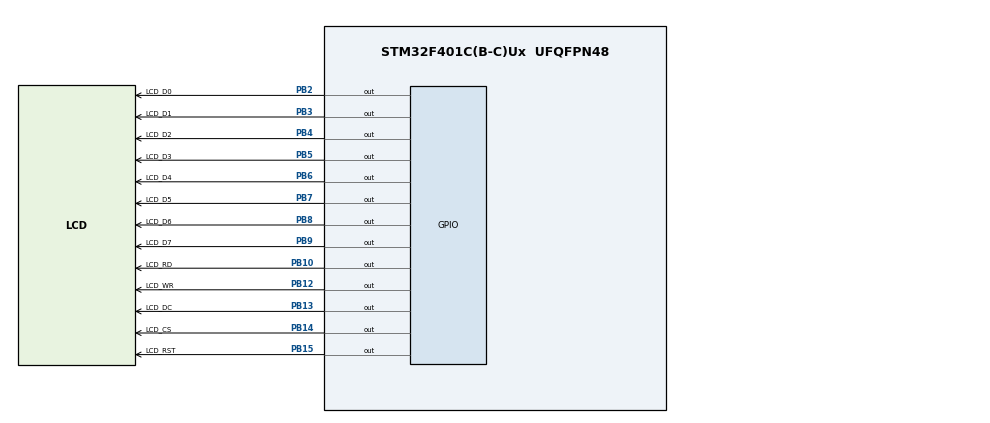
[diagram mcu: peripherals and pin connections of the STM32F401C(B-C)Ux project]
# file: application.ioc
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ADC1.Channel-2\#ChannelRegularConversion=ADC_CHANNEL_VBAT
ADC1.NbrOfConversionFlag=1
ADC1.Rank-2\#ChannelRegularConversion=1
ADC1.SamplingTime-2\#ChannelRegularConversion=ADC_SAMPLETIME_3CYCLES
ADC1.master=1
FREERTOS.Mutexes01=Display_Mutex,Dynamic,NULL
FREERTOS.Tasks01=Task_01,24,512,StartTask_01,Default,NULL,Dynamic,NULL,NULL;Task_02,24,512,StartTask_02,Default,NULL,Dynamic,NULL,NULL;Task_03,24,512,StartTask_03,Default,NULL,Dynamic,NULL,NULL;Task_04,24,512,StartTask_04,Default,NULL,Dynamic,NULL,NULL
Mcu.Family=STM32F4
Mcu.Name=STM32F401C(B-C)Ux
Mcu.Package=UFQFPN48
NVIC.PriorityGroup=NVIC_PRIORITYGROUP_4
PA13.Mode=Serial_Wire
PA13.Signal=SYS_JTMS-SWDIO
PA14.Mode=Serial_Wire
PA14.Signal=SYS_JTCK-SWCLK
PB10.GPIO_Label=LCD_RD
PB10.GPIO_ModeDefaultOutputPP=GPIO_MODE_OUTPUT_PP
PB10.GPIO_PuPd=GPIO_NOPULL
PB10.GPIO_Speed=GPIO_SPEED_FREQ_VERY_HIGH
PB10.PinState=GPIO_PIN_RESET
PB10.Signal=GPIO_Output
PB12.GPIO_Label=LCD_WR
PB12.GPIO_ModeDefaultOutputPP=GPIO_MODE_OUTPUT_PP
PB12.GPIO_PuPd=GPIO_NOPULL
PB12.GPIO_Speed=GPIO_SPEED_FREQ_VERY_HIGH
PB12.PinState=GPIO_PIN_RESET
PB12.Signal=GPIO_Output
PB13.GPIO_Label=LCD_DC
PB13.GPIO_ModeDefaultOutputPP=GPIO_MODE_OUTPUT_PP
PB13.GPIO_PuPd=GPIO_NOPULL
PB13.GPIO_Speed=GPIO_SPEED_FREQ_VERY_HIGH
PB13.PinState=GPIO_PIN_RESET
PB13.Signal=GPIO_Output
PB14.GPIO_Label=LCD_CS
PB14.GPIO_ModeDefaultOutputPP=GPIO_MODE_OUTPUT_PP
PB14.GPIO_PuPd=GPIO_NOPULL
PB14.GPIO_Speed=GPIO_SPEED_FREQ_VERY_HIGH
PB14.PinState=GPIO_PIN_RESET
PB14.Signal=GPIO_Output
PB15.GPIO_Label=LCD_RST
PB15.GPIO_ModeDefaultOutputPP=GPIO_MODE_OUTPUT_PP
PB15.GPIO_PuPd=GPIO_NOPULL
PB15.GPIO_Speed=GPIO_SPEED_FREQ_VERY_HIGH
PB15.PinState=GPIO_PIN_RESET
PB15.Signal=GPIO_Output
PB2.GPIO_Label=LCD_D0
PB2.GPIO_ModeDefaultOutputPP=GPIO_MODE_OUTPUT_PP
PB2.GPIO_PuPd=GPIO_NOPULL
PB2.GPIO_Speed=GPIO_SPEED_FREQ_VERY_HIGH
PB2.PinState=GPIO_PIN_RESET
PB2.Signal=GPIO_Output
PB3.GPIO_Label=LCD_D1
PB3.GPIO_ModeDefaultOutputPP=GPIO_MODE_OUTPUT_PP
PB3.GPIO_PuPd=GPIO_NOPULL
PB3.GPIO_Speed=GPIO_SPEED_FREQ_VERY_HIGH
PB3.PinState=GPIO_PIN_RESET
PB3.Signal=GPIO_Output
PB4.GPIO_Label=LCD_D2
PB4.GPIO_ModeDefaultOutputPP=GPIO_MODE_OUTPUT_PP
PB4.GPIO_PuPd=GPIO_NOPULL
PB4.GPIO_Speed=GPIO_SPEED_FREQ_VERY_HIGH
PB4.PinState=GPIO_PIN_RESET
PB4.Signal=GPIO_Output
PB5.GPIO_Label=LCD_D3
PB5.GPIO_ModeDefaultOutputPP=GPIO_MODE_OUTPUT_PP
PB5.GPIO_PuPd=GPIO_NOPULL
PB5.GPIO_Speed=GPIO_SPEED_FREQ_VERY_HIGH
PB5.PinState=GPIO_PIN_RESET
PB5.Signal=GPIO_Output
PB6.GPIO_Label=LCD_D4
PB6.GPIO_ModeDefaultOutputPP=GPIO_MODE_OUTPUT_PP
PB6.GPIO_PuPd=GPIO_NOPULL
PB6.GPIO_Speed=GPIO_SPEED_FREQ_VERY_HIGH
PB6.PinState=GPIO_PIN_RESET
PB6.Signal=GPIO_Output
PB7.GPIO_Label=LCD_D5
PB7.GPIO_ModeDefaultOutputPP=GPIO_MODE_OUTPUT_PP
PB7.GPIO_PuPd=GPIO_NOPULL
PB7.GPIO_Speed=GPIO_SPEED_FREQ_VERY_HIGH
PB7.PinState=GPIO_PIN_RESET
PB7.Signal=GPIO_Output
PB8.GPIO_Label=LCD_D6
PB8.GPIO_ModeDefaultOutputPP=GPIO_MODE_OUTPUT_PP
PB8.GPIO_PuPd=GPIO_NOPULL
PB8.GPIO_Speed=GPIO_SPEED_FREQ_VERY_HIGH
PB8.PinState=GPIO_PIN_RESET
PB8.Signal=GPIO_Output
PB9.GPIO_Label=LCD_D7
PB9.GPIO_ModeDefaultOutputPP=GPIO_MODE_OUTPUT_PP
PB9.GPIO_PuPd=GPIO_NOPULL
PB9.GPIO_Speed=GPIO_SPEED_FREQ_VERY_HIGH
PB9.PinState=GPIO_PIN_RESET
PB9.Signal=GPIO_Output
PC14-OSC32_IN.Mode=LSE-External-Oscillator
PC14-OSC32_IN.Signal=RCC_OSC32_IN
PC15-OSC32_OUT.Mode=LSE-External-Oscillator
PC15-OSC32_OUT.Signal=RCC_OSC32_OUT
ProjectManager.HeapSize=0x1000
ProjectManager.StackSize=0x2000
ProjectManager.TargetToolchain=Makefile
RCC.48MHZClocksFreq_Value=42000000
RCC.AHBFreq_Value=84000000
RCC.APB1CLKDivider=RCC_HCLK_DIV2
RCC.APB1Freq_Value=42000000
RCC.APB1TimFreq_Value=84000000
RCC.APB2Freq_Value=84000000
RCC.APB2TimFreq_Value=84000000
RCC.CortexFreq_Value=84000000
RCC.HCLKFreq_Value=84000000
RCC.HSE_VALUE=25000000
RCC.HSI_VALUE=16000000
RCC.PLLM=8
RCC.PLLN=84
RCC.SYSCLKFreq_VALUE=84000000
RCC.SYSCLKSource=RCC_SYSCLKSOURCE_PLLCLK
RCC.VCOOutputFreq_Value=168000000
VP_ADC1_Vbat_Input.Mode=IN-Vbat
VP_ADC1_Vref_Input.Mode=IN-Vrefint
VP_FREERTOS_VS_CMSIS_V2.Mode=CMSIS_V2
VP_TIM11_VS_ClockSourceINT.Mode=Enable_Timer
board=custom

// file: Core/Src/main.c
/* USER CODE BEGIN Header */
/**
  ******************************************************************************
  * @file           : main.c
  * @brief          : Main program body
  ******************************************************************************
  * @attention
  *
  * <h2><center>&copy; Copyright (c) 2020 STMicroelectronics.
  * All rights reserved.</center></h2>
  *
  * This software component is licensed by ST under BSD 3-Clause license,
  * the "License"; You may not use this file except in compliance with the
  * License. You may obtain a copy of the License at:
  *                        opensource.org/licenses/BSD-3-Clause
  *
  ******************************************************************************
  */
/* USER CODE END Header */
#include "main.h"
#include "cmsis_os.h"
#include "adc.h"
#include "tim.h"
#include "gpio.h"

/* USER CODE BEGIN Includes */
#include "SSD1963.h"
// #include "example.h"

/* USER CODE END Includes */

void SystemClock_Config(void);
void MX_FREERTOS_Init(void);

int main(void)
{

  /* MCU Configuration--------------------------------------------------------*/

  /* Reset of all peripherals, Initializes the Flash interface and the Systick. */

  LL_APB2_GRP1_EnableClock(LL_APB2_GRP1_PERIPH_SYSCFG);
  LL_APB1_GRP1_EnableClock(LL_APB1_GRP1_PERIPH_PWR);

  NVIC_SetPriorityGrouping(NVIC_PRIORITYGROUP_4);

  /* System interrupt init*/
  /* PendSV_IRQn interrupt configuration */
  NVIC_SetPriority(PendSV_IRQn, NVIC_EncodePriority(NVIC_GetPriorityGrouping(),15, 0));
  /* SysTick_IRQn interrupt configuration */
  NVIC_SetPriority(SysTick_IRQn, NVIC_EncodePriority(NVIC_GetPriorityGrouping(),15, 0));

  /* Configure the system clock */
  SystemClock_Config();

  /* Initialize all configured peripherals */
  MX_GPIO_Init();
  MX_ADC1_Init();
  MX_TIM11_Init();
  /* USER CODE BEGIN 2 */

  /*
   * init receives orientation parameter
   * for display,
   * Display_Set_rotation becomes superfluous
   */
  Display_Init(1); /* - 0&3 480x800,  1&2 800x480 */

  /*
   * is currently Display_Set_rotation
   * has a drawback when dynamically changing
   */
  // Display_Set_rotation(2);

  fillRect(0, 0, Display_Get_WIDTH(),Display_Get_HEIGHT(), GRAY);

  #include "c_images_all_includes.h"
  drawRGBBitmap(10, 235, tiger);
  /* USER CODE END 2 */

  /* Init scheduler */
  osKernelInitialize();  /* Call init function for freertos objects (in freertos.c) */
  MX_FREERTOS_Init();
  /* Start scheduler */
  osKernelStart();

  /* We should never get here as control is now taken by the scheduler */
  /* Infinite loop */
  while (1)
  {

    /* USER CODE BEGIN 3 */

    // loop();
  }
  /* USER CODE END 3 */
}

void SystemClock_Config(void)
{
  LL_FLASH_SetLatency(LL_FLASH_LATENCY_2);
  while(LL_FLASH_GetLatency()!= LL_FLASH_LATENCY_2)
  {
  }
  LL_PWR_SetRegulVoltageScaling(LL_PWR_REGU_VOLTAGE_SCALE2);
  LL_RCC_HSI_SetCalibTrimming(16);
  LL_RCC_HSI_Enable();

   /* Wait till HSI is ready */
  while(LL_RCC_HSI_IsReady() != 1)
  {

  }
  LL_RCC_PLL_ConfigDomain_SYS(LL_RCC_PLLSOURCE_HSI, LL_RCC_PLLM_DIV_8, 84, LL_RCC_PLLP_DIV_2);
  LL_RCC_PLL_Enable();

   /* Wait till PLL is ready */
  while(LL_RCC_PLL_IsReady() != 1)
  {

  }
  LL_RCC_SetAHBPrescaler(LL_RCC_SYSCLK_DIV_1);
  LL_RCC_SetAPB1Prescaler(LL_RCC_APB1_DIV_2);
  LL_RCC_SetAPB2Prescaler(LL_RCC_APB2_DIV_1);
  LL_RCC_SetSysClkSource(LL_RCC_SYS_CLKSOURCE_PLL);

   /* Wait till System clock is ready */
  while(LL_RCC_GetSysClkSource() != LL_RCC_SYS_CLKSOURCE_STATUS_PLL)
  {

  }
  LL_Init1msTick(84000000);
  LL_SetSystemCoreClock(84000000);
  LL_RCC_SetTIMPrescaler(LL_RCC_TIM_PRESCALER_TWICE);
}

void Error_Handler(void)
{
}

/************************ (C) COPYRIGHT STMicroelectronics *****END OF FILE****/

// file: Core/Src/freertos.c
/* USER CODE BEGIN Header */
/**
  ******************************************************************************
  * File Name          : freertos.c
  * Description        : Code for freertos applications
  ******************************************************************************
  * @attention
  *
  * <h2><center>&copy; Copyright (c) 2021 STMicroelectronics.
  * All rights reserved.</center></h2>
  *
  * This software component is licensed by ST under Ultimate Liberty license
  * SLA0044, the "License"; You may not use this file except in compliance with
  * the License. You may obtain a copy of the License at:
  *                             www.st.com/SLA0044
  *
  ******************************************************************************
  */
/* USER CODE END Header */

#include "FreeRTOS.h"
#include "task.h"
#include "main.h"
#include "cmsis_os.h"

/* USER CODE BEGIN Includes */
#include "SSD1963.h"
#include "c_images_all_includes.h"

#include "stm32_tick.h"
#include "time.h"
#include "semphr.h"
#include "lissajous.h"

/* USER CODE END Includes */

/* Definitions for Task_01 */
osThreadId_t Task_01Handle;
const osThreadAttr_t Task_01_attributes = {
  .name = "Task_01",
  .stack_size = 512 * 4,
  .priority = (osPriority_t) osPriorityNormal,
};
/* Definitions for Task_02 */
osThreadId_t Task_02Handle;
const osThreadAttr_t Task_02_attributes = {
  .name = "Task_02",
  .stack_size = 512 * 4,
  .priority = (osPriority_t) osPriorityNormal1,
};
/* Definitions for Task_03 */
osThreadId_t Task_03Handle;
const osThreadAttr_t Task_03_attributes = {
  .name = "Task_03",
  .stack_size = 512 * 4,
  .priority = (osPriority_t) osPriorityNormal,
};
/* Definitions for Task_04 */
osThreadId_t Task_04Handle;
const osThreadAttr_t Task_04_attributes = {
  .name = "Task_04",
  .stack_size = 512 * 4,
  .priority = (osPriority_t) osPriorityNormal,
};
/* Definitions for Display_Mutex */
osMutexId_t Display_MutexHandle;
const osMutexAttr_t Display_Mutex_attributes = {
  .name = "Display_Mutex"
};

/* USER CODE BEGIN FunctionPrototypes */

void draw_window(void)
{
  osMutexWait(Display_MutexHandle, osWaitForever); // mutex on

  // draw petals/leaf`s left top - for fun
  for(float a = 0; a <6.28318530718; a += 0.01)
  {
   for(float r1 = 2; r1 <18; r1 ++)
   {
    float r = r1 * (1 + sin(a)) * (1 + 0.9 * cos(8 * a)) * (1 + 0.1 * cos(24 * a));
    fillRect(180-(uint16_t)(100 + r * cos(a)), 190 - (uint16_t)(100 + r * sin(a)),3,3, GREEN);
   }
  }
  for(float a = 0; a <6.28318530718; a += 0.01)
  {
    float r = 18 * (1 + sin(a)) * (1 + 0.9 * cos(8 * a)) * (1 + 0.1 * cos(24 * a));
    fillRect(180-(uint16_t)(100 + r * cos(a)), 190 - (uint16_t)(100 + r * sin(a)),3,3, OLIVE);
  }

  fillRoundRect(8, Display_Get_HEIGHT()-42, Display_Get_WIDTH()-15, 36, 6, DARKBLUE);

  setTextSize(1);
  setCursor(60, Display_Get_HEIGHT()-40);
  setTextColor(CYAN);
  setTextBgColor(DARKBLUE);
  UG_FONT_set(&font_ClearSans_36X38);
  UG_PutString("STATUS BAR TEST");
  UG_FONT_set(&font_BebasNeue_41X59);

  drawRoundRect(6, Display_Get_HEIGHT()-43, Display_Get_WIDTH()-11, 38, 6, RED);

  drawRoundRect(1, 5, Display_Get_WIDTH()-2, Display_Get_HEIGHT()-6,  10, BLUE);
  drawRoundRect(2, 6, Display_Get_WIDTH()-4, Display_Get_HEIGHT()-8,  10, YELLOW);
  drawRoundRect(3, 7, Display_Get_WIDTH()-6, Display_Get_HEIGHT()-10, 10, CYAN);
  drawRoundRect(4, 8, Display_Get_WIDTH()-8, Display_Get_HEIGHT()-12, 10, MAGENTA);

  // drawRoundRect(97,  9, 76, 92, 8, RED);
  // drawRoundRect(98, 10, 74, 90, 8, GREEN);
  // drawRoundRect(99, 11, 72, 88, 8, CYAN);

  #define left 302
  #define win_width 162
  fillRoundRect(left+3, 11, win_width+2, 88, 8, DARKSLATEGRAY);
  drawRoundRect(left+1,  9, win_width+6, 92, 8, RED);
  drawRoundRect(left+2, 10, win_width+4, 90, 8, GREEN);
  drawRoundRect(left+3, 11, win_width+2, 88, 8, CYAN);

  #define y_set 112
  drawRoundRect(5, y_set+1, Display_Get_WIDTH()-10,  y_set+8, 8, RED);
  drawRoundRect(6, y_set+2, Display_Get_WIDTH()-12,  y_set+6, 8, GREEN);
  drawRoundRect(7, y_set+3, Display_Get_WIDTH()-14,  y_set+4, 8, CYAN);

  osMutexRelease(Display_MutexHandle); // mutex off
}

void draw_dot_grid(void)
{
  // osMutexAcquire(Display_MutexHandle, portMAX_DELAY);
  osMutexWait(Display_MutexHandle, portMAX_DELAY); // mutex on
  for(uint16_t y = 106;y<Display_Get_HEIGHT()-270;y+= 8)
    for(uint16_t x = 16; x<Display_Get_WIDTH()-15; x+=32) fillRect(x, y, 2,2, CYAN);
  for(uint16_t y = 106;y<Display_Get_HEIGHT()-270;y+=32)
    for(uint16_t x = 16; x<Display_Get_WIDTH()-15; x+=8 ) fillRect(x, y, 2,2, CYAN);
  osMutexRelease(Display_MutexHandle); // mutex off
}

void draw_dynamic_grid(int16_t shiftx)
{
  if(shiftx < 12) return;
  #define y_pos  124
  #define ceil_x  33
    // osMutexAcquire(Display_MutexHandle, portMAX_DELAY);
  osMutexWait(Display_MutexHandle, portMAX_DELAY); // mutex on
  for(uint16_t y = y_pos;y<y_pos+97;y+= 8)
    for(uint16_t x = shiftx; x<ceil_x+shiftx; x+=32) fillRect(x, y, 2,2, CYAN);
  for(uint16_t y = y_pos;y<y_pos+97;y+=32)
    for(uint16_t x = shiftx; x<ceil_x+shiftx; x+=8 ) fillRect(x, y, 2,2, CYAN);
  osMutexRelease(Display_MutexHandle); // mutex off
}

// char input_buff[MAX_INPUT_LEN] = {};

void analog_read(void)
{
  static volatile uint16_t Value0;
  static volatile uint16_t Value1;
  static volatile uint16_t Value2;
  static volatile uint16_t Value3;
  static volatile uint16_t Value4;
  static volatile uint16_t Value5;
  static volatile uint16_t Value6;
  static volatile uint16_t Value7;

  Value1 = read_adc(ADC1, GPIOA, 0x1UL << 1);
  Value2 = read_adc(ADC1, GPIOA, 0x1UL << 2);
  Value3 = read_adc(ADC1, GPIOA, 0x1UL << 3);
  Value4 = read_adc(ADC1, GPIOA, 0x1UL << 4);
  Value5 = read_adc(ADC1, GPIOA, 0x1UL << 5);
  Value6 = read_adc(ADC1, GPIOA, 0x1UL << 6);
  Value7 = read_adc(ADC1, GPIOA, 0x1UL << 7);

  static volatile uint16_t x_pos = 16;

  osMutexWait(Display_MutexHandle, portMAX_DELAY); // mutex on
  ///!! fillRect( x_pos + 64, 11, 88, 31, GRAY);
  osMutexRelease(Display_MutexHandle); // mutex off

  setTextColor(YELLOW);
  setTextBgColor(GRAY);

  /**
  osMutexWait(Display_MutexHandle, portMAX_DELAY); // mutex on
  setCursor(64,   248);
  setTextSize(1);
  UG_FONT_set(&font_BebasNeue_41X59);
  draw_value(Value1);
  osMutexRelease(Display_MutexHandle); // mutex off
  osDelay(100);

  osMutexWait(Display_MutexHandle, portMAX_DELAY); // mutex on
  setCursor(64,   304);
  setTextSize(1);
  UG_FONT_set(&font_BebasNeue_41X59);
  draw_value(Value2);
  osMutexRelease(Display_MutexHandle); // mutex off
  osDelay(100);

  osMutexWait(Display_MutexHandle, portMAX_DELAY); // mutex on
  setCursor(64,   360);
  setTextSize(1);
  UG_FONT_set(&font_BebasNeue_41X59);
  draw_value(Value3);
  osMutexRelease(Display_MutexHandle); // mutex off
  osDelay(100); **/

  osMutexWait(Display_MutexHandle, portMAX_DELAY); // mutex on
  setCursor(300,   240);
  setTextSize(1);
  UG_FONT_set(&font_ClearSans_22X22);
  draw_fvalue(Value4,0);
  osMutexRelease(Display_MutexHandle); // mutex off
  osDelay(100);

  osMutexWait(Display_MutexHandle, portMAX_DELAY); // mutex on
  setCursor(300,   260);
  setTextSize(1);
  UG_FONT_set(&font_ClearSans_22X22);
  draw_fvalue(Value5,0);
  osMutexRelease(Display_MutexHandle); // mutex off
  osDelay(100);

  osMutexWait(Display_MutexHandle, portMAX_DELAY); // mutex on
  setCursor(300,   280);
  setTextSize(1);
  UG_FONT_set(&font_ClearSans_22X22);
  draw_fvalue(Value6,0);
  osMutexRelease(Display_MutexHandle); // mutex off
  osDelay(100);

  /** osMutexWait(Display_MutexHandle, portMAX_DELAY); // mutex on
  gauge(644,268, 0, YELLOW, (read_adc(ADC1, GPIOA, 0x1UL << 0)/36)+270 );
  osMutexRelease(Display_MutexHandle); // mutex off
  osDelay(150); **/
}

void graph_line(uint16_t xpos)
{
  char buff_time[12];
  static volatile uint32_t tick_ms;
  static volatile uint32_t time_ms;
  static volatile uint16_t x_shift = 160;

  if( xpos == 8 )
  {

    tick_ms += ticks_get()/84000; // read chronometry
    if(ticks_get()>8e6) ticks_set(0); // start chronometry
    osMutexWait(Display_MutexHandle, portMAX_DELAY); // mutex on
    setCursor(x_shift, 16);
    setTextColor(GREEN);
    setTextSize(1);
    UG_FONT_set(&font_BebasNeue_15X22);
    draw_value(tick_ms); UG_PutString(" ms");
    UG_FONT_set(&font_BebasNeue_41X59);
    setTextColor(YELLOW);
    osMutexRelease(Display_MutexHandle); // mutex off

    osMutexWait(Display_MutexHandle, portMAX_DELAY); // mutex on
    time_ms = get_time_new_ms(); // read chronometry
    setCursor(x_shift, 60);
    setTextColor(CYAN);
    setTextSize(1);
    UG_FONT_set(&font_BebasNeue_15X22);
    draw_value(time_ms); UG_PutString(" m");
    UG_FONT_set(&font_BebasNeue_41X59);
    setTextColor(YELLOW);
    osMutexRelease(Display_MutexHandle); // mutex off
  }

  #define BUFSIZE 800
  static volatile uint16_t buff_1_draw[BUFSIZE] = {0};
  static volatile uint16_t buff_2_draw[BUFSIZE] = {0};
  static volatile uint16_t buff_3_draw[BUFSIZE] = {0};
  static volatile uint16_t buff_1_clean[BUFSIZE] = {0};
  static volatile uint16_t buff_2_clean[BUFSIZE] = {0};
  static volatile uint16_t buff_3_clean[BUFSIZE] = {0};

  buff_1_draw[xpos] = read_adc(ADC1, GPIOA, 0x1UL << 4)/36+126;
  buff_2_draw[xpos] = read_adc(ADC1, GPIOA, 0x1UL << 5)/36+128;
  buff_3_draw[xpos] = read_adc(ADC1, GPIOA, 0x1UL << 6)/36+130;

  osMutexWait(Display_MutexHandle, portMAX_DELAY); // mutex on
  write_graph_color(xpos, buff_1_draw, buff_1_clean, 3, CYAN,GRAY);
  osMutexRelease(Display_MutexHandle); // mutex off

  osMutexWait(Display_MutexHandle, portMAX_DELAY); // mutex on
  write_graph_color(xpos, buff_2_draw, buff_2_clean, 3, YELLOW,GRAY);
  osMutexRelease(Display_MutexHandle); // mutex off

  osMutexWait(Display_MutexHandle, portMAX_DELAY); // mutex on
  write_graph_color(xpos, buff_3_draw, buff_3_clean, 3, GREEN,GRAY);
  osMutexRelease(Display_MutexHandle); // mutex off
  osDelay(5);
}

void draw_row_level(void)
{
  static volatile uint16_t y_offset, x_offset, space_width,level_width;
  static volatile uint16_t val0,val1,val2,val3,val4,val5,val6,val7;
  static volatile uint16_t clear0,clear1,clear2,clear3,clear4,clear5,clear6,clear7;

  x_offset = 324;
  y_offset = 84;
  space_width = 16;
  level_width = 10;

  // ADC_Init(ADC1);
  // osMutexWait(Display_MutexHandle, portMAX_DELAY); // mutex on
  // osMutexWait(Display_MutexHandle, osWaitForever); // mutex on

  val0 = read_adc(ADC1, GPIOA, 0x1UL << 0)/40;
  val1 = read_adc(ADC1, GPIOA, 0x1UL << 1)/40;
  val2 = read_adc(ADC1, GPIOA, 0x1UL << 2)/40;
  val3 = read_adc(ADC1, GPIOA, 0x1UL << 3)/40;
  val4 = read_adc(ADC1, GPIOA, 0x1UL << 4)/40;
  val5 = read_adc(ADC1, GPIOA, 0x1UL << 5)/40;
  val6 = read_adc(ADC1, GPIOA, 0x1UL << 6)/40;
  val7 = read_adc(ADC1, GPIOA, 0x1UL << 7)/40;

  // clear measuring columns:
  // read measuring PA0-PA8 ADC input

  // draw measuring columns:
  osMutexWait(Display_MutexHandle, portMAX_DELAY); // mutex on
  write_graph_dot_line(x_offset + space_width * 0, y_offset, x_offset + space_width * 0, y_offset - clear0, level_width, GRAY);
  write_graph_dot_line(x_offset + space_width * 0, y_offset, x_offset + space_width * 0, y_offset - val0, level_width, OLIVE);
  clear0 = val0;
  osMutexRelease(Display_MutexHandle); // mutex off

  osMutexWait(Display_MutexHandle, portMAX_DELAY); // mutex on
  write_graph_dot_line(x_offset + space_width * 1, y_offset, x_offset + space_width * 1, y_offset - clear1, level_width, GRAY);
  write_graph_dot_line(x_offset + space_width * 1, y_offset, x_offset + space_width * 1, y_offset - val1, level_width, SILVER);
  clear1 = val1;
  osMutexRelease(Display_MutexHandle); // mutex off

  osMutexWait(Display_MutexHandle, portMAX_DELAY); // mutex on
  write_graph_dot_line(x_offset + space_width * 2, y_offset, x_offset + space_width * 2, y_offset - clear2, level_width, GRAY);
  write_graph_dot_line(x_offset + space_width * 2, y_offset, x_offset + space_width * 2, y_offset - val2, level_width, TEAL);
  clear2 = val2;
  osMutexRelease(Display_MutexHandle); // mutex off

  osMutexWait(Display_MutexHandle, portMAX_DELAY); // mutex on
  write_graph_dot_line(x_offset + space_width * 3, y_offset, x_offset + space_width * 3, y_offset - clear3, level_width, GRAY);
  write_graph_dot_line(x_offset + space_width * 3, y_offset, x_offset + space_width * 3, y_offset - val3, level_width, GREEN);
  clear3 = val3;
  osMutexRelease(Display_MutexHandle); // mutex off

  osMutexWait(Display_MutexHandle, portMAX_DELAY); // mutex on
  write_graph_dot_line(x_offset + space_width * 4, y_offset, x_offset + space_width * 4, y_offset - clear4, level_width, GRAY);
  write_graph_dot_line(x_offset + space_width * 4, y_offset, x_offset + space_width * 4, y_offset - val4, level_width, CYAN);
  clear4 = val4;
  osMutexRelease(Display_MutexHandle); // mutex off

  osMutexWait(Display_MutexHandle, portMAX_DELAY); // mutex on
  write_graph_dot_line(x_offset + space_width * 5, y_offset, x_offset + space_width * 5, y_offset - clear5, level_width, GRAY);
  write_graph_dot_line(x_offset + space_width * 5, y_offset, x_offset + space_width * 5, y_offset - val5, level_width, MAGENTA);
  clear5 = val5;
  osMutexRelease(Display_MutexHandle); // mutex off

  osMutexWait(Display_MutexHandle, portMAX_DELAY); // mutex on
  write_graph_dot_line(x_offset + space_width * 6, y_offset, x_offset + space_width * 6, y_offset - clear6, level_width, GRAY);
  write_graph_dot_line(x_offset + space_width * 6, y_offset, x_offset + space_width * 6, y_offset - val6, level_width, ORANGE);
  clear6 = val6;
  osMutexRelease(Display_MutexHandle); // mutex off

  osMutexWait(Display_MutexHandle, portMAX_DELAY); // mutex on
  write_graph_dot_line(x_offset + space_width * 7, y_offset, x_offset + space_width * 7, y_offset - clear7, level_width, GRAY);
  write_graph_dot_line(x_offset + space_width * 7, y_offset, x_offset + space_width * 7, y_offset - val7, level_width, GREEN);
  clear7 = val7;
  osMutexRelease(Display_MutexHandle); // mutex off

  osDelay(200);
}

/* USER CODE END FunctionPrototypes */

void StartTask_01(void *argument);
void StartTask_02(void *argument);
void StartTask_03(void *argument);
void StartTask_04(void *argument);

void MX_FREERTOS_Init(void); /* (MISRA C 2004 rule 8.1) */

void MX_FREERTOS_Init(void) {
  /* Create the mutex(es) */
  /* creation of Display_Mutex */
  Display_MutexHandle = osMutexNew(&Display_Mutex_attributes);

  /* Create the thread(s) */
  /* creation of Task_01 */
  Task_01Handle = osThreadNew(StartTask_01, NULL, &Task_01_attributes);

  /* creation of Task_02 */
  Task_02Handle = osThreadNew(StartTask_02, NULL, &Task_02_attributes);

  /* creation of Task_03 */
  Task_03Handle = osThreadNew(StartTask_03, NULL, &Task_03_attributes);

  /* creation of Task_04 */
  Task_04Handle = osThreadNew(StartTask_04, NULL, &Task_04_attributes);

}

void StartTask_01(void *argument)
{
  /* USER CODE BEGIN StartTask_01 */
  draw_window();
  ticks_init();
  ticks_set(0); // start chronometry
  save_time_ms(); // start chronometry
  #include "angle.h"
  Point point;
  point.x1 = 350;
  point.y1 = 420;
  point.ro = 175;
  uint16_t old_angle;

  draw_arch(point.x1, point.y1, 0, 180, 50, 2, OLIVE);
  draw_arch(point.x1, point.y1, 0, 180, 80, 2, OLIVE);

  /* Infinite loop */
  for(;;)
  {
    for(uint16_t i =0;i<=180; i++)
    {
      osMutexWait(Display_MutexHandle, portMAX_DELAY); // mutex on

      point.angle = old_angle;
      draw_arrow(&point, 96, 2, GRAY); // directional arrow clar
      draw_arch(point.x1, point.y1, point.angle -5, point.angle +5, 50, 2, OLIVE);
      draw_arch(point.x1, point.y1, point.angle -3, point.angle +3, 80, 2, OLIVE);

      point.angle = i;
      draw_arrow(&point, 96, 2, ORANGE); // directional arrow draw
      draw_arch(point.x1, point.y1, point.angle -5, point.angle +5, 50, 2, OLIVE);
      draw_arch(point.x1, point.y1, point.angle -3, point.angle +3, 80, 2, OLIVE);

      old_angle = point.angle;

      osMutexRelease(Display_MutexHandle); // mutex off

      for(uint16_t i=0;i<=180;i+=30)
      {
        osMutexWait(Display_MutexHandle, portMAX_DELAY); // mutex on
        point.angle = i;
        get_angle_pos(&point);
        // write_graph_dot_line(point.x1,point.y1, point.x2,point.y2, 1, GREEN);
        for(uint16_t i=100;i<=110;i++) draw_angle(&point, i, 2, RED); // yellow tags
        for(uint16_t i=110;i<=116;i++) draw_angle(&point, i, 2, GREEN); // yellow tags
        osMutexRelease(Display_MutexHandle); // mutex off
        osDelay(1);
      }

      osDelay(50);
    }

    osDelay(50);
  }

  /* USER CODE END StartTask_01 */
}

void StartTask_02(void *argument)
{
  /* USER CODE BEGIN StartTask_02 */
  static volatile uint16_t xpos;

  for(int16_t i=8;i<Display_Get_WIDTH()-8;i++)
  {
    if( !(i % 32) ) draw_dynamic_grid(i-33);
  }

  // char buff_time[12];
  // static volatile uint32_t tick_ms;

  /* Infinite loop */
  for(;;)
  {
    xpos++;
    if(xpos >= Display_Get_WIDTH()-8) // start chronometry
    {
      xpos = 8;
      osDelay(10);
      ticks_set(0);
    }
    if( !(xpos % 32) ) draw_dynamic_grid(xpos-33);
    // --
    // if( !(xpos % 400) ) analog_read();
    // if( xpos == 8 ) analog_read();
    // --
    // if( !(xpos % 400) )

    graph_line(xpos);

    osDelay(5);
    // --
  }
  /* USER CODE END StartTask_02 */
}

void StartTask_03(void *argument)
{
  /* USER CODE BEGIN StartTask_03 */
  /* Infinite loop */
  for(;;)
  {
    // if( !(count % 400) ) analog_read();
    // if( count == 400 ) analog_read();
    analog_read();

    osDelay(25);
  }
  /* USER CODE END StartTask_03 */
}

void StartTask_04(void *argument)
{
  /* USER CODE BEGIN StartTask_04 */

  /* Infinite loop */
  for(;;)
  {
    // draw_row_level();
    // lissajous(385,52, 0.125, 0.250, CYAN , DARKSLATEGRAY);

    // drawRGBBitmap(160, 140, RGBY);
    // drawRGBBitmap(400, 260, lion);
    // drawRGBBitmap(10, 235, tiger);

    // setTextColor(BLUE);
    // setTextBgColor(GREEN);
    // setCursor(300, 300);
    // draw_fvalue(15.0,2);
    // drawChar(300, 300, 'A', RED, 0, 6);
    // writeString("Hello");

    // osDelay(100);
  }
  /* USER CODE END StartTask_04 */
}

/************************ (C) COPYRIGHT STMicroelectronics *****END OF FILE****/
